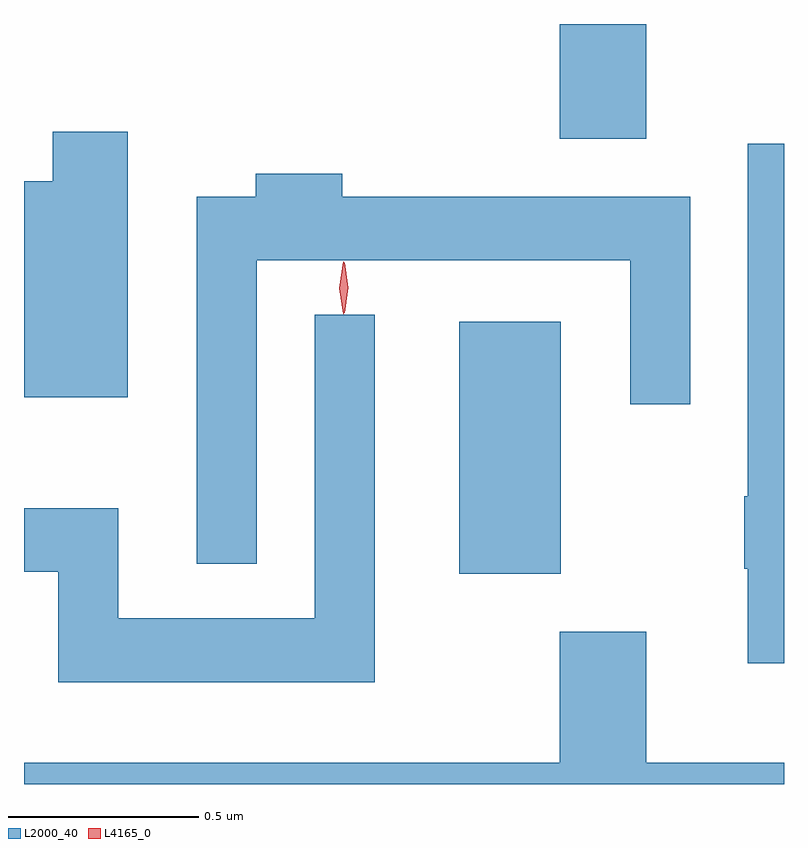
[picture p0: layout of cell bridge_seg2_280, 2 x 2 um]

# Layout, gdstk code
import gdstk
lib = gdstk.Library(unit=1e-6, precision=1e-09)
def R(c, l, rs):  # rectangles x0, y0, x1, y1
    for r in rs: c.add(gdstk.rectangle(r[:2], r[2:], *l))
def P(c, l, *ps):  # polygons
    for p in ps: c.add(gdstk.Polygon(p, *l))
L2000_40 = (2000, 40)
L4165_0 = (4165, 0)

bridge_seg2_280 = lib.new_cell('bridge_seg2_280')
R(bridge_seg2_280, L2000_40, [(593.026,1066.841,593.294,1067.504), (593.291,1067.986,593.519,1068.288)])
P(bridge_seg2_280, L2000_40, [(592.154,1068.004),(591.956,1068.004),(591.956,1067.874),(591.881,1067.874),(591.881,1067.306),(592.154,1067.306)],
  [(593.881,1067.973),(593.786,1067.973),(593.786,1067.045),(593.776,1067.045),(593.776,1066.855),(593.786,1066.855),(593.786,1066.606),(593.881,1066.606)],
  [(592.494,1067.666),(593.476,1067.666),(593.476,1067.288),(593.634,1067.288),(593.634,1067.834),(592.719,1067.834),(592.719,1067.894),(592.491,1067.894),(592.491,1067.834),(592.336,1067.834),(592.336,1066.868),(592.494,1066.868)],
  [(592.804,1067.523),(592.646,1067.523),(592.646,1066.724),(592.129,1066.724),(592.129,1067.014),(591.881,1067.014),(591.881,1066.846),(591.971,1066.846),(591.971,1066.556),(592.804,1066.556)],
  [(593.881,1066.344),(593.519,1066.344),(593.519,1066.689),(593.291,1066.689),(593.291,1066.344),(591.881,1066.344),(591.881,1066.288),(593.881,1066.288)])
P(bridge_seg2_280, L4165_0, [(592.724,1067.528),(592.724,1067.528),(592.714,1067.594),(592.724,1067.66),(592.724,1067.66),(592.725,1067.66),(592.734,1067.594),(592.725,1067.528)],
  [(592.722,1067.524),(592.721,1067.525),(592.711,1067.593),(592.721,1067.662),(592.721,1067.663),(592.722,1067.662),(592.731,1067.594),(592.722,1067.525)])

lib.write_gds('bridge_seg2_280.gds')
